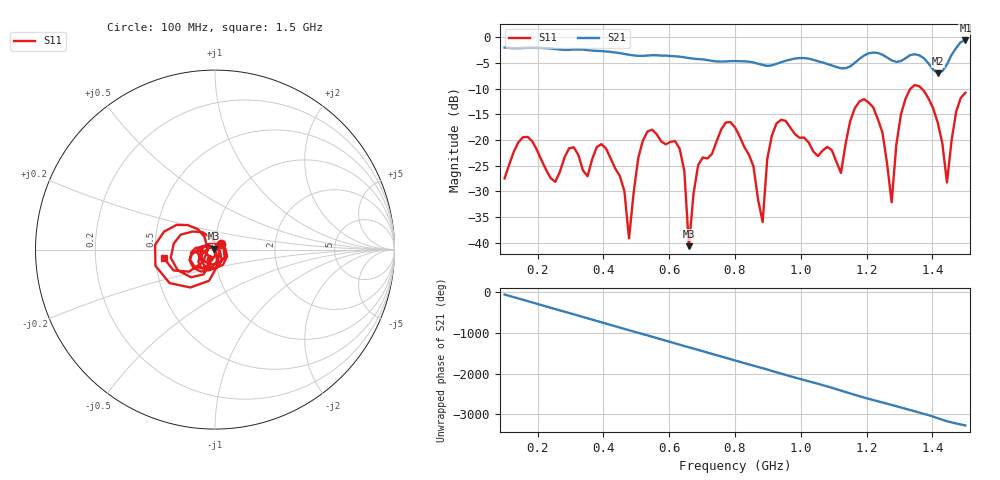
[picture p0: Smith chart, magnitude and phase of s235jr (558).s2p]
! NanoVNA-App
! Date: 2025-09-25 15:08:30
! Start: 100MHz Stop: 1,5GHz Points: 101
! S-Parameter data: F S11 S21 S12 S22
# Hz S RI R 50
!  Frequency  S11_Real  S11_Imag  S21_Real  S21_Imag  S12_Real  S12_Imag  S22_Real  S22_Imag
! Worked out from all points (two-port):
!   101 points, 100 MHz to 1.5 GHz, reference 50 ohm
!   highest |S21| = -0.58 dB at 1.5 GHz (marker M1); lowest = -7.0 dB at 1.416 GHz (marker M2)
!   |S21| within 3 dB of the highest: start of sweep to 505.5 MHz; 520.1 MHz to 598.4 MHz (78.27 MHz wide, 14 % of centre) (the widest 2 of 5)
!   lowest |S11| = -40.7 dB at 660 MHz (marker M3), VSWR 1.02, Z = 49.3 + j0.55 ohm
!   |S11| at or under -10 dB: start of sweep to 1.333 GHz; 1.368 GHz to end of sweep
!   S12 and S22 are empty: the file has one direction only
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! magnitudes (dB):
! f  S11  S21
! 100 MHz  -27.5  -2.0
! 156 MHz  -19.4  -2.1
! 338 MHz  -25.9  -2.4
! 408 MHz  -21.6  -2.7
! 478 MHz  -39.2  -3.4
! 520 MHz  -20.1  -3.6
! 576 MHz  -20.3  -3.5
! 632 MHz  -21.7  -3.7
! 660 MHz  -40.7  -4.0
! 688 MHz  -24.9  -4.2
! 800 MHz  -17.5  -4.6
! 884 MHz  -36.0  -5.3
! 926 MHz  -16.8  -5.1
! 1.038 GHz  -22.2  -4.4
! 1.122 GHz  -26.4  -6.0
! 1.192 GHz  -12.0  -3.5
! 1.248 GHz  -18.5  -3.4
! 1.276 GHz  -32.1  -4.5
! 1.332 GHz  -10.1  -3.4
! 1.416 GHz  -16.6  -7.0
! 1.444 GHz  -28.3  -5.3
! 1.5 GHz  -10.8  -0.6
